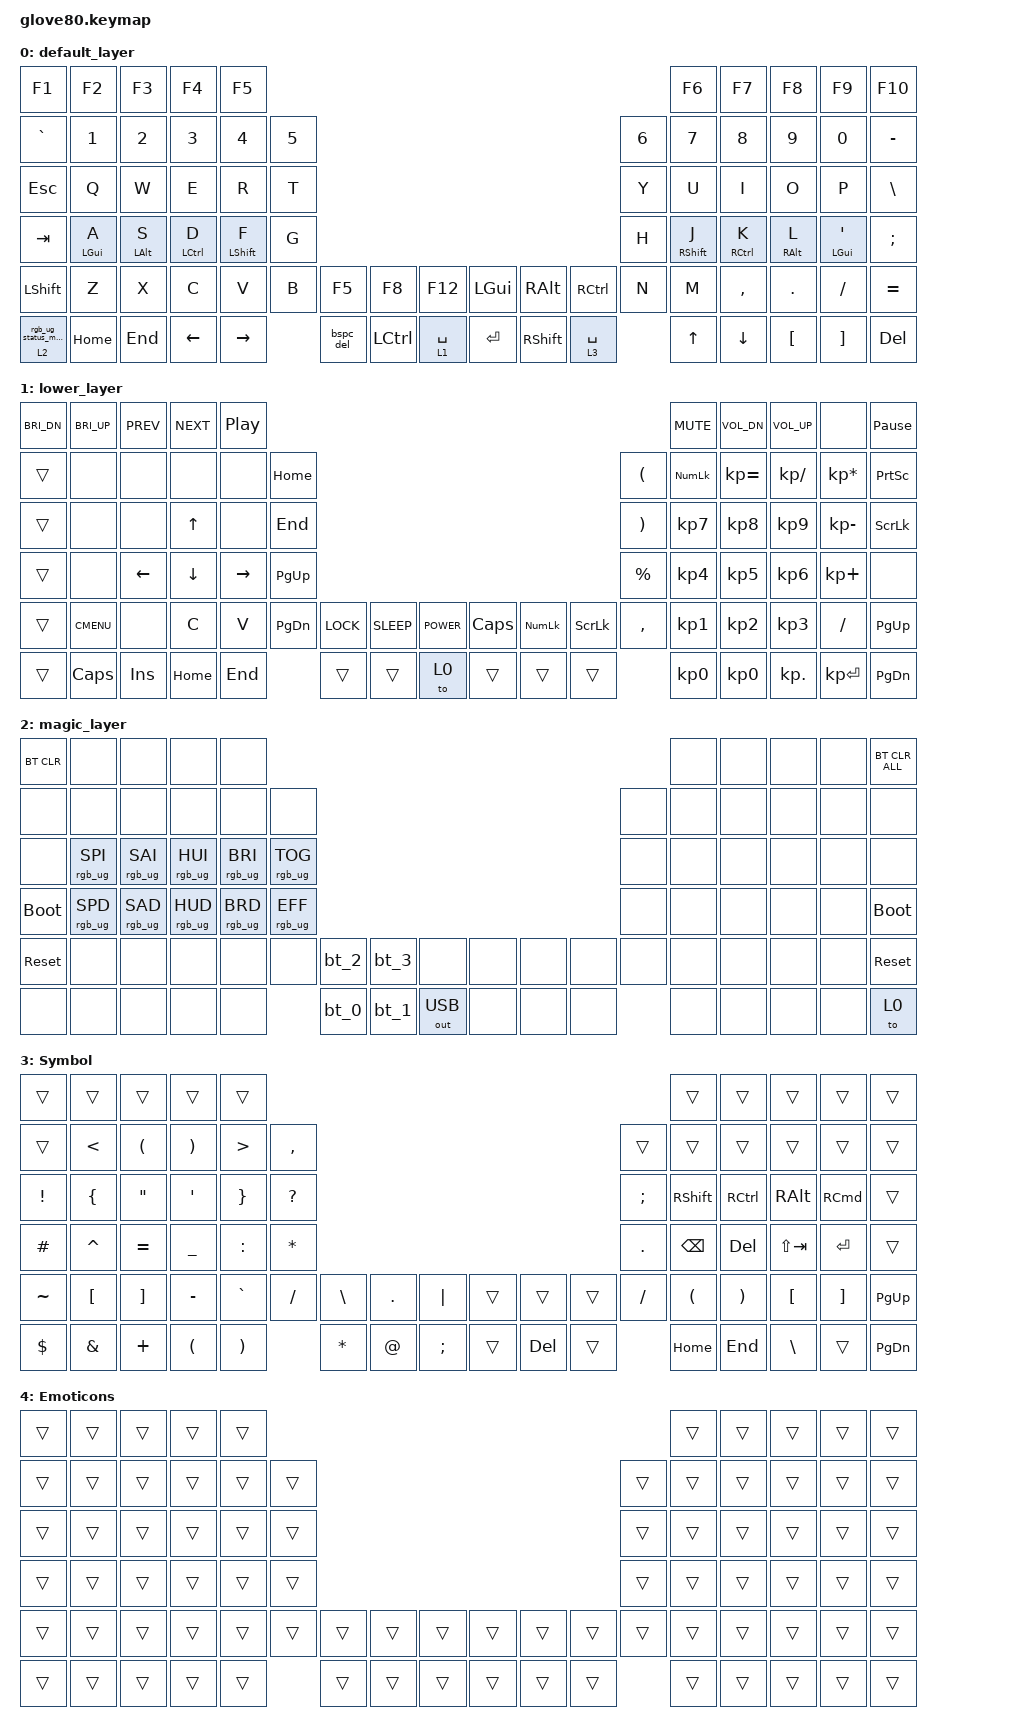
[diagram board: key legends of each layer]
/*
 * Copyright (c) 2020 The ZMK Contributors
 *
 * SPDX-License-Identifier: MIT
 */

#include <behaviors.dtsi>
#include <dt-bindings/zmk/bt.h>
#include <dt-bindings/zmk/keys.h>
#include <dt-bindings/zmk/outputs.h>
#include <dt-bindings/zmk/rgb.h>

#define HYPER LC(LS(LG(LALT)))

// layers

#define DEFAULT 0
#define LOWER 1
#define MAGIC 2
#define FACTORY_TEST 3

/ {
    behaviors {
        // For the "layer" key, it'd nice to be able to use it as either a shift or a toggle.
        // Configure it as a tap dance, so the first tap (or hold) is a &mo and the second tap is a &to

        layer_td: tap_dance_0 {
            compatible = "zmk,behavior-tap-dance";
            label = "LAYER_TAP_DANCE";
            #binding-cells = <0>;
            tapping-term-ms = <200>;
            bindings = <&mo 1>, <&to 1>;
        };

        magic: magic_hold_tap {
            compatible = "zmk,behavior-hold-tap";
            label = "MAGIC_HOLD_TAP";
            #binding-cells = <2>;
            flavor = "tap-preferred";
            tapping-term-ms = <200>;
            bindings = <&mo>, <&rgb_ug_status_macro>;
        };

        hm: hm {
            compatible = "zmk,behavior-hold-tap";
            label = "HM";
            bindings = <&kp>, <&kp>;

            #binding-cells = <2>;
            flavor = "tap-preferred";
            quick-tap-ms = <200>;
            tapping-term-ms = <400>;
            require-prior-idle-ms = <400>;
        };

        bspc_del: bspc_del {
            compatible = "zmk,behavior-mod-morph";
            label = "BSPC_DEL";
            bindings = <&kp BACKSPACE>, <&kp DELETE>;

            #binding-cells = <0>;
            mods = <(MOD_LSFT|MOD_RSFT)>;
        };
    };

    macros {
        rgb_ug_status_macro: rgb_ug_status_macro_0 {
            label = "RGB_UG_STATUS";
            compatible = "zmk,behavior-macro";
            #binding-cells = <0>;
            bindings = <&rgb_ug RGB_STATUS>;
        };

        bt_0: bt_profile_macro_0 {
            label = "BT_0";
            compatible = "zmk,behavior-macro";
            #binding-cells = <0>;
            bindings = <&out OUT_BLE &bt BT_SEL 0>;
        };

        bt_1: bt_profile_macro_1 {
            label = "BT_1";
            compatible = "zmk,behavior-macro";
            #binding-cells = <0>;
            bindings = <&out OUT_BLE &bt BT_SEL 1>;
        };

        bt_2: bt_profile_macro_2 {
            label = "BT_2";
            compatible = "zmk,behavior-macro";
            #binding-cells = <0>;
            bindings = <&out OUT_BLE &bt BT_SEL 2>;
        };

        bt_3: bt_profile_macro_3 {
            label = "BT_3";
            compatible = "zmk,behavior-macro";
            #binding-cells = <0>;
            bindings = <&out OUT_BLE &bt BT_SEL 3>;
        };
    };

    keymap {
        compatible = "zmk,keymap";

        default_layer {
            // ---------------------------------------------------------------------------------------------------------------------------------
            // |  F1   |  F2 |  F3 |  F4  |  F5  |                                                               |  F6   |  F7   |  F8  |   F9  |  F10 |
            // |  =    |  1  |  2  |  3   |  4   |  5   |                                                 |  6   |   7   |   8   |  9   |   0   |   -  |
            // |  TAB  |  Q  |  W  |  E   |  R   |  T   |                                                 |  Y   |   U   |   I   |  O   |   P   |   \  |
            // |  ESC  |  A  |  S  |  D   |  F   |  G   |                                                 |  H   |   J   |   K   |  L   |   ;   |   '  |
            // |   `   |  Z  |  X  |  C   |  V   |  B   | LSHFT | LCTRL | LOWER | | LGUI  | RCTRL | RSHFT |  N   |   M   |   ,   |  .   |   /   | PGUP |
            // | MAGIC | HOME| END | LEFT | RIGHT|      | BSPC  | DEL   | LALT  | | RALT  | RET   | SPACE |      |  UP   | DOWN  |  [   |   ]   | PGDN |

            bindings = <
&kp F1      &kp F2          &kp F3      &kp F4       &kp F5                                                                                                       &kp F6       &kp F7       &kp F8      &kp F9                     &kp F10
&kp GRAVE   &kp N1          &kp N2      &kp N3       &kp N4       &kp N5                                                                                  &kp N6  &kp N7       &kp N8       &kp N9      &kp N0                     &kp MINUS
&kp ESCAPE  &kp Q           &kp W       &kp E        &kp R        &kp T                                                                                   &kp Y   &kp U        &kp I        &kp O       &kp P                      &kp BSLH
&kp TAB     &hm LEFT_GUI A  &hm LALT S  &hm LCTRL D  &hm LSHFT F  &kp G                                                                                   &kp H   &hm RSHFT J  &hm RCTRL K  &hm RALT L  &hm LEFT_GUI SINGLE_QUOTE  &kp SEMICOLON
&kp LSHFT   &kp Z           &kp X       &kp C        &kp V        &kp B   &kp F5     &kp F8     &kp F12      &kp LGUI   &kp RIGHT_ALT  &kp RIGHT_CONTROL  &kp N   &kp M        &kp COMMA    &kp DOT     &kp FSLH                   &kp EQUAL
&magic 2 0  &kp HOME        &kp END     &kp LEFT     &kp RIGHT            &bspc_del  &kp LCTRL  &lt 1 SPACE  &kp ENTER  &kp RSHIFT     &lt 3 SPACE                &kp UP       &kp DOWN     &kp LBKT    &kp RBKT                   &kp DELETE
            >;
        };

        lower_layer {
            bindings = <
&kp C_BRI_DN  &kp C_BRI_UP  &kp C_PREV  &kp C_NEXT  &kp C_PP                                                                                                             &kp C_MUTE  &kp C_VOL_DN  &kp C_VOL_UP   &none            &kp PAUSE_BREAK
&trans        &none         &none       &none       &none      &kp HOME                                                                                       &kp LPAR   &kp KP_NUM  &kp KP_EQUAL  &kp KP_DIVIDE  &kp KP_MULTIPLY  &kp PSCRN
&trans        &none         &none       &kp UP      &none      &kp END                                                                                        &kp RPAR   &kp KP_N7   &kp KP_N8     &kp KP_N9      &kp KP_MINUS     &kp SLCK
&trans        &none         &kp LEFT    &kp DOWN    &kp RIGHT  &kp PG_UP                                                                                      &kp PRCNT  &kp KP_N4   &kp KP_N5     &kp KP_N6      &kp KP_PLUS      &none
&trans        &kp K_CMENU   &none       &kp C       &kp V      &kp PG_DN  &kp K_LOCK  &kp K_SLEEP  &kp K_POWER  &kp CAPSLOCK  &kp KP_NUMLOCK  &kp SCROLLLOCK  &kp COMMA  &kp KP_N1   &kp KP_N2     &kp KP_N3      &kp SLASH        &kp PAGE_UP
&trans        &kp CAPS      &kp INS     &kp HOME    &kp END               &trans      &trans       &to 0        &trans        &trans          &trans                     &kp KP_N0   &kp KP_N0     &kp KP_DOT     &kp KP_ENTER     &kp PAGE_DOWN
            >;
        };

        magic_layer {
            bindings = <
&bt BT_CLR   &none            &none            &none            &none                                                                                     &none  &none  &none  &none  &bt BT_CLR_ALL
&none        &none            &none            &none            &none            &none                                                             &none  &none  &none  &none  &none  &none
&none        &rgb_ug RGB_SPI  &rgb_ug RGB_SAI  &rgb_ug RGB_HUI  &rgb_ug RGB_BRI  &rgb_ug RGB_TOG                                                   &none  &none  &none  &none  &none  &none
&bootloader  &rgb_ug RGB_SPD  &rgb_ug RGB_SAD  &rgb_ug RGB_HUD  &rgb_ug RGB_BRD  &rgb_ug RGB_EFF                                                   &none  &none  &none  &none  &none  &bootloader
&sys_reset   &none            &none            &none            &none            &none            &bt_2  &bt_3  &none         &none  &none  &none  &none  &none  &none  &none  &none  &sys_reset
&none        &none            &none            &none            &none                             &bt_0  &bt_1  &out OUT_USB  &none  &none  &none         &none  &none  &none  &none  &to 0
            >;
        };

        Symbol {
            bindings = <
&trans           &trans            &trans                &trans                 &trans                                                                                                                     &trans                &trans                 &trans            &trans             &trans
&trans           &kp LESS_THAN     &kp LEFT_PARENTHESIS  &kp RIGHT_PARENTHESIS  &kp GREATER_THAN       &kp COMMA                                                                            &trans         &trans                &trans                 &trans            &trans             &trans
&kp EXCLAMATION  &kp LEFT_BRACE    &kp DOUBLE_QUOTES     &kp SQT                &kp RIGHT_BRACE        &kp QUESTION                                                                         &kp SEMICOLON  &kp RSHFT             &kp RCTRL              &kp RALT          &kp RCMD           &trans
&kp HASH         &kp CARET         &kp EQUAL             &kp UNDERSCORE         &kp COLON              &kp ASTERISK                                                                         &kp PERIOD     &kp BACKSPACE         &kp DELETE             &kp LS(TAB)       &kp ENTER          &trans
&kp TILDE        &kp LEFT_BRACKET  &kp RIGHT_BRACKET     &kp MINUS              &kp GRAVE              &kp SLASH     &kp BACKSLASH  &kp PERIOD   &kp PIPE       &trans  &trans      &trans  &kp SLASH      &kp LEFT_PARENTHESIS  &kp RIGHT_PARENTHESIS  &kp LEFT_BRACKET  &kp RIGHT_BRACKET  &kp PAGE_UP
&kp DOLLAR       &kp AMPERSAND     &kp PLUS              &kp LEFT_PARENTHESIS   &kp RIGHT_PARENTHESIS                &kp ASTERISK   &kp AT_SIGN  &kp SEMICOLON  &trans  &kp DELETE  &trans                 &kp HOME              &kp END                &kp BACKSLASH     &trans             &kp PAGE_DOWN
            >;
        };

        Emoticons {
            bindings = <
&trans  &trans  &trans  &trans  &trans                                                                  &trans  &trans  &trans  &trans  &trans
&trans  &trans  &trans  &trans  &trans  &trans                                                  &trans  &trans  &trans  &trans  &trans  &trans
&trans  &trans  &trans  &trans  &trans  &trans                                                  &trans  &trans  &trans  &trans  &trans  &trans
&trans  &trans  &trans  &trans  &trans  &trans                                                  &trans  &trans  &trans  &trans  &trans  &trans
&trans  &trans  &trans  &trans  &trans  &trans  &trans  &trans  &trans  &trans  &trans  &trans  &trans  &trans  &trans  &trans  &trans  &trans
&trans  &trans  &trans  &trans  &trans          &trans  &trans  &trans  &trans  &trans  &trans          &trans  &trans  &trans  &trans  &trans
            >;
        };
    };
};
